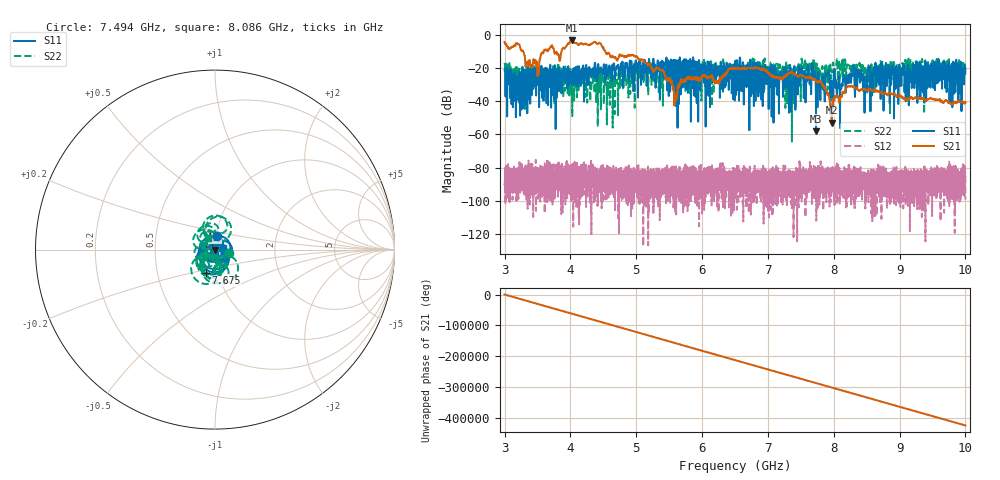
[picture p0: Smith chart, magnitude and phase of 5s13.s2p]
!Agilent Technologies,E8363B,MY43030572,A.06.04.32
!Agilent E8363B: A.06.04.32
!Date: Tuesday, June 07, 2011 08:20:02
!Correction: S11(Full 2 Port(1,2)) S21(Full 2 Port(1,2)) S12(Full 2 Port(1,2)) S22(Full 2 Port(1,2))
!S2P File: Measurements: S11, S21, S12, S22:
# Hz S  dB  R 50
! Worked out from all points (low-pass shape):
!   6401 points, 3 GHz to 10 GHz, reference 50 ohm
!   highest |S21| = -3.22 dB at 4.017 GHz (marker M1); lowest = -52.8 dB at 7.969 GHz (marker M2)
!   |S21| within 3 dB of the highest: 3.162 GHz to 3.228 GHz (66.22 MHz wide, 2.07 % of centre); 3.946 GHz to 4.471 GHz (525.7 MHz wide, 12.5 % of centre)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
!   lowest |S11| = -58.1 dB at 7.73 GHz (marker M3), VSWR 1.00, Z = 50 - j0.124 ohm
!   |S11| at or under -10 dB: start of sweep to end of sweep
!   |S22| runs from -64.3 to -13.9 dB; largest |S21 - S12| = 0.69
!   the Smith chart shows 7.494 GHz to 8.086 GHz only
!   S11 on the Smith chart (normalised r, x): 7.494 GHz: 1.01, +0.15; 7.675 GHz: 0.87, -0.23; 8.086 GHz: 1.09, +0.01
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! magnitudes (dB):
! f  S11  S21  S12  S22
! 3 GHz  -21.4  -4.1  -89.6  -16.8
! 3.491 GHz  -17.6  -17.2  -83.8  -23.8
! 3.596 GHz  -24.1  -9.4  -90.3  -30.0
! 3.829 GHz  -19.3  -14.3  -88.5  -27.8
! 4.017 GHz  -25.0  -3.2  -90.2  -28.7
! 4.167 GHz  -21.2  -4.9  -86.6  -24.5
! 5.334 GHz  -19.5  -20.4  -89.5  -26.6
! 5.59 GHz  -16.2  -40.3  -90.4  -20.9
! 5.792 GHz  -16.0  -26.1  -88.8  -21.6
! 6.228 GHz  -23.7  -28.2  -103.5  -23.1
! 6.5 GHz  -18.6  -20.4  -88.2  -22.4
! 7.385 GHz  -29.4  -23.3  -87.2  -32.3
! 7.494 GHz  -22.5  -24.1  -88.7  -22.0
! 7.667 GHz  -19.4  -26.7  -93.6  -17.5
! 7.675 GHz  -17.1  -26.0  -86.6  -18.8
! 7.73 GHz  -58.1  -27.7  -83.4  -28.5
! 7.904 GHz  -23.4  -35.7  -86.9  -28.4
! 7.969 GHz  -28.6  -52.8  -86.6  -21.5
! 8.086 GHz  -27.1  -39.4  -82.6  -22.4
! 8.247 GHz  -23.4  -31.2  -85.4  -20.4
! 8.834 GHz  -19.2  -34.9  -89.8  -21.7
! 10 GHz  -23.2  -40.4  -99.3  -20.9
